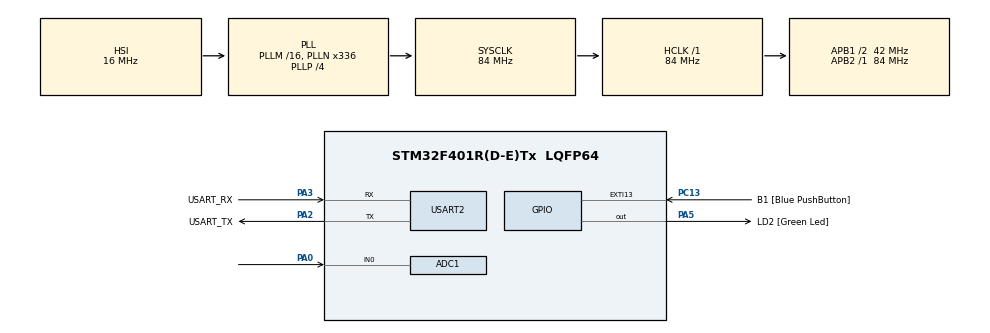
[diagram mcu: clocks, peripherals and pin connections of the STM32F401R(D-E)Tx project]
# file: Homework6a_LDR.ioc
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ADC1.Channel-0\#ChannelRegularConversion=ADC_CHANNEL_0
ADC1.DMAContinuousRequests=ENABLE
ADC1.ExternalTrigConv=ADC_EXTERNALTRIGCONV_T2_TRGO
ADC1.NbrOfConversion=1
ADC1.NbrOfConversionFlag=1
ADC1.Rank-0\#ChannelRegularConversion=1
ADC1.SamplingTime-0\#ChannelRegularConversion=ADC_SAMPLETIME_480CYCLES
ADC1.ScanConvMode=DISABLE
ADC1.master=1
Dma.ADC1.0.Direction=DMA_PERIPH_TO_MEMORY
Dma.ADC1.0.FIFOMode=DMA_FIFOMODE_DISABLE
Dma.ADC1.0.Instance=DMA2_Stream0
Dma.ADC1.0.MemDataAlignment=DMA_MDATAALIGN_HALFWORD
Dma.ADC1.0.MemInc=DMA_MINC_ENABLE
Dma.ADC1.0.Mode=DMA_CIRCULAR
Dma.ADC1.0.PeriphDataAlignment=DMA_PDATAALIGN_HALFWORD
Dma.ADC1.0.PeriphInc=DMA_PINC_DISABLE
Dma.ADC1.0.Priority=DMA_PRIORITY_LOW
Dma.Request0=ADC1
Dma.Request1=USART2_TX
Dma.USART2_TX.1.Direction=DMA_MEMORY_TO_PERIPH
Dma.USART2_TX.1.FIFOMode=DMA_FIFOMODE_DISABLE
Dma.USART2_TX.1.Instance=DMA1_Stream6
Dma.USART2_TX.1.MemDataAlignment=DMA_MDATAALIGN_BYTE
Dma.USART2_TX.1.MemInc=DMA_MINC_ENABLE
Dma.USART2_TX.1.Mode=DMA_NORMAL
Dma.USART2_TX.1.PeriphDataAlignment=DMA_PDATAALIGN_BYTE
Dma.USART2_TX.1.PeriphInc=DMA_PINC_DISABLE
Dma.USART2_TX.1.Priority=DMA_PRIORITY_LOW
Mcu.Family=STM32F4
Mcu.Name=STM32F401R(D-E)Tx
Mcu.Package=LQFP64
NVIC.ADC_IRQn=true\:0\:0\:false\:false\:true\:true\:true\:true
NVIC.DMA1_Stream6_IRQn=true\:0\:0\:false\:false\:true\:false\:true\:true
NVIC.DMA2_Stream0_IRQn=true\:0\:0\:false\:false\:true\:false\:true\:true
NVIC.PriorityGroup=NVIC_PRIORITYGROUP_0
NVIC.USART2_IRQn=true\:0\:0\:false\:false\:true\:true\:true\:true
PA0-WKUP.Signal=SharedAnalog_PA0
PA13.GPIO_Label=TMS
PA13.Mode=Serial_Wire
PA13.Signal=SYS_JTMS-SWDIO
PA14.GPIO_Label=TCK
PA14.Mode=Serial_Wire
PA14.Signal=SYS_JTCK-SWCLK
PA2.GPIO_Label=USART_TX
PA2.GPIO_Mode=GPIO_MODE_AF_PP
PA2.GPIO_PuPd=GPIO_NOPULL
PA2.GPIO_Speed=GPIO_SPEED_FREQ_LOW
PA2.Mode=Asynchronous
PA2.Signal=USART2_TX
PA3.GPIO_Label=USART_RX
PA3.GPIO_Mode=GPIO_MODE_AF_PP
PA3.GPIO_PuPd=GPIO_NOPULL
PA3.GPIO_Speed=GPIO_SPEED_FREQ_LOW
PA3.Mode=Asynchronous
PA3.Signal=USART2_RX
PA5.GPIO_Label=LD2 [Green Led]
PA5.GPIO_Mode=GPIO_MODE_OUTPUT_PP
PA5.GPIO_PuPd=GPIO_NOPULL
PA5.GPIO_Speed=GPIO_SPEED_FREQ_LOW
PA5.Signal=GPIO_Output
PB3.GPIO_Label=SWO
PB3.Signal=SYS_JTDO-SWO
PC13-ANTI_TAMP.GPIO_Label=B1 [Blue PushButton]
PC13-ANTI_TAMP.GPIO_ModeDefaultEXTI=GPIO_MODE_IT_FALLING
PC13-ANTI_TAMP.GPIO_PuPd=GPIO_NOPULL
PC13-ANTI_TAMP.Signal=GPXTI13
PC14-OSC32_IN.Mode=LSE-External-Oscillator
PC14-OSC32_IN.Signal=RCC_OSC32_IN
PC15-OSC32_OUT.Mode=LSE-External-Oscillator
PC15-OSC32_OUT.Signal=RCC_OSC32_OUT
PH0\ -\ OSC_IN.Mode=HSE-External-Clock-Source
PH0\ -\ OSC_IN.Signal=RCC_OSC_IN
PH1\ -\ OSC_OUT.Mode=HSE-External-Clock-Source
PH1\ -\ OSC_OUT.Signal=RCC_OSC_OUT
ProjectManager.HeapSize=0x200
ProjectManager.StackSize=0x400
ProjectManager.TargetToolchain=STM32CubeIDE
RCC.48MHZClocksFreq_Value=48000000
RCC.AHBFreq_Value=84000000
RCC.APB1CLKDivider=RCC_HCLK_DIV2
RCC.APB1Freq_Value=42000000
RCC.APB1TimFreq_Value=84000000
RCC.APB2Freq_Value=84000000
RCC.APB2TimFreq_Value=84000000
RCC.CortexFreq_Value=84000000
RCC.HCLKFreq_Value=84000000
RCC.HSE_VALUE=8000000
RCC.HSI_VALUE=16000000
RCC.PLLN=336
RCC.PLLP=RCC_PLLP_DIV4
RCC.PLLQ=7
RCC.SYSCLKFreq_VALUE=84000000
RCC.SYSCLKSource=RCC_SYSCLKSOURCE_PLLCLK
RCC.VCOOutputFreq_Value=336000000
SH.SharedAnalog_PA0.0=GPIO_Analog
SH.SharedAnalog_PA0.1=ADC1_IN0,IN0
TIM2.Period=10-1
TIM2.Prescaler=8400-1
TIM2.TIM_MasterOutputTrigger=TIM_TRGO_UPDATE
USART2.VirtualMode=VM_ASYNC
VP_TIM2_VS_ClockSourceINT.Mode=Internal
board=NUCLEO-F401RE

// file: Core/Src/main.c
/* USER CODE BEGIN Header */
/**
  ******************************************************************************
  * @file           : main.c
  * @brief          : Main program body
  ******************************************************************************
  * @attention
  *
  * Copyright (c) 2024 STMicroelectronics.
  * All rights reserved.
  *
  * This software is licensed under terms that can be found in the LICENSE file
  * in the root directory of this software component.
  * If no LICENSE file comes with this software, it is provided AS-IS.
  *
  ******************************************************************************
  * GOAL:
  * acquire LDR resistance value every ms and to send its average value to a
  * remote terminal every 1s. Convert the resistance value to a lux level and
  * send that to the remote terminal.
  *
  */
/* USER CODE END Header */
#include "main.h"

/* USER CODE BEGIN Includes */
#include "string.h"
#include "math.h"
/* USER CODE END Includes */

/* USER CODE BEGIN PD */
#define STR_LEN 64
#define LSB 3.3/4096.0
#define NUM_SAMPLE 1000 // 1s/1ms
#define REF_R 100 //Nominal value of LDR
#define V_DD 3.3 //Supply voltage
/* USER CODE END PD */

ADC_HandleTypeDef hadc1;
DMA_HandleTypeDef hdma_adc1;

TIM_HandleTypeDef htim2;

UART_HandleTypeDef huart2;
DMA_HandleTypeDef hdma_usart2_tx;

/* USER CODE BEGIN PV */

uint16_t dig_data [NUM_SAMPLE];
/*2 digital sum are used to compute the average because there is no time to
 * compute the average of all the samples together, thus I split the computation in 2 steps */
uint32_t dig_sum1 = 0;
uint32_t dig_sum2 = 0;

uint32_t dig_avg = 0;

float an_avg = 0.0;
float ldr = 0.0; // in kOhm
float lux = 0.0; // in lumen
char string [STR_LEN];

/* USER CODE END PV */

void SystemClock_Config(void);
static void MX_GPIO_Init(void);
static void MX_DMA_Init(void);
static void MX_USART2_UART_Init(void);
static void MX_ADC1_Init(void);
static void MX_TIM2_Init(void);

/* USER CODE BEGIN 0 */
/*Every half way to the completion of conversion (500 sample) I compute the
 * first sum*/
void HAL_ADC_ConvHalfCpltCallback (ADC_HandleTypeDef * hadc){
	if (hadc=&hadc1){
		dig_sum1 = 0;
		for(int i = 0; i < NUM_SAMPLE/2 ; i++){
			dig_sum1 = dig_sum1 + dig_data[i];
		}
	}
}

void HAL_ADC_ConvCpltCallback(ADC_HandleTypeDef* hadc){
	if(hadc=&hadc1){
		dig_sum2 = 0;
		/*second sum calculation*/
		for(int i = 0; i < NUM_SAMPLE/2 ; i++){
			dig_sum2 = dig_sum2 + dig_data[NUM_SAMPLE/2 + i];
		}
		/*Avg computation*/
		dig_avg = (dig_sum2 + dig_sum1)/(NUM_SAMPLE);

		/*conversion to analog Voltage value*/
		an_avg = dig_avg*LSB;

		/*Conversion to LDR resistance value*/
		ldr = (an_avg * REF_R)/(V_DD - an_avg);

		/*Conversion in lumen*/
		lux = 10*(powf(REF_R/ldr, 1.25));

		/*Creation of the string to send via UART*/
		int length = snprintf(string, sizeof(string), "Resistance: %.3f kOhm; Lux: %.3f lumen\n",ldr, lux);

		/*Transmission to the PC*/
		HAL_UART_Transmit_DMA(&huart2, string, length);
	}
}
/* USER CODE END 0 */

int main(void)
{

  /* MCU Configuration--------------------------------------------------------*/

  /* Reset of all peripherals, Initializes the Flash interface and the Systick. */
  HAL_Init();

  /* Configure the system clock */
  SystemClock_Config();

  /* Initialize all configured peripherals */
  MX_GPIO_Init();
  MX_DMA_Init();
  MX_USART2_UART_Init();
  MX_ADC1_Init();
  MX_TIM2_Init();
  /* USER CODE BEGIN 2 */

  //Configuration of the DMA mode of the ADC (which ADC, Where, How many samples)
  HAL_ADC_Start_DMA(&hadc1, dig_data, NUM_SAMPLE );

  __HAL_TIM_SET_COUNTER(&htim2,0); // reset the counter of tim2

  // start timer (timer triggers every 1 ms (Prescaler = 8400-1 and ARR = 10-1)
  HAL_TIM_Base_Start(&htim2);
  /* USER CODE END 2 */

  /* Infinite loop */
  while (1)
  {

  }
}

void SystemClock_Config(void)
{
  RCC_OscInitTypeDef RCC_OscInitStruct = {0};
  RCC_ClkInitTypeDef RCC_ClkInitStruct = {0};

  /** Configure the main internal regulator output voltage
  */
  __HAL_RCC_PWR_CLK_ENABLE();
  __HAL_PWR_VOLTAGESCALING_CONFIG(PWR_REGULATOR_VOLTAGE_SCALE2);

  /** Initializes the RCC Oscillators according to the specified parameters
  * in the RCC_OscInitTypeDef structure.
  */
  RCC_OscInitStruct.OscillatorType = RCC_OSCILLATORTYPE_HSI;
  RCC_OscInitStruct.HSIState = RCC_HSI_ON;
  RCC_OscInitStruct.HSICalibrationValue = RCC_HSICALIBRATION_DEFAULT;
  RCC_OscInitStruct.PLL.PLLState = RCC_PLL_ON;
  RCC_OscInitStruct.PLL.PLLSource = RCC_PLLSOURCE_HSI;
  RCC_OscInitStruct.PLL.PLLM = 16;
  RCC_OscInitStruct.PLL.PLLN = 336;
  RCC_OscInitStruct.PLL.PLLP = RCC_PLLP_DIV4;
  RCC_OscInitStruct.PLL.PLLQ = 7;
  if (HAL_RCC_OscConfig(&RCC_OscInitStruct) != HAL_OK)
  {
    Error_Handler();
  }

  /** Initializes the CPU, AHB and APB buses clocks
  */
  RCC_ClkInitStruct.ClockType = RCC_CLOCKTYPE_HCLK|RCC_CLOCKTYPE_SYSCLK
                              |RCC_CLOCKTYPE_PCLK1|RCC_CLOCKTYPE_PCLK2;
  RCC_ClkInitStruct.SYSCLKSource = RCC_SYSCLKSOURCE_PLLCLK;
  RCC_ClkInitStruct.AHBCLKDivider = RCC_SYSCLK_DIV1;
  RCC_ClkInitStruct.APB1CLKDivider = RCC_HCLK_DIV2;
  RCC_ClkInitStruct.APB2CLKDivider = RCC_HCLK_DIV1;

  if (HAL_RCC_ClockConfig(&RCC_ClkInitStruct, FLASH_LATENCY_2) != HAL_OK)
  {
    Error_Handler();
  }
}

static void MX_ADC1_Init(void)
{

  ADC_ChannelConfTypeDef sConfig = {0};

  /** Configure the global features of the ADC (Clock, Resolution, Data Alignment and number of conversion)
  */
  hadc1.Instance = ADC1;
  hadc1.Init.ClockPrescaler = ADC_CLOCK_SYNC_PCLK_DIV4;
  hadc1.Init.Resolution = ADC_RESOLUTION_12B;
  hadc1.Init.ScanConvMode = DISABLE;
  hadc1.Init.ContinuousConvMode = DISABLE;
  hadc1.Init.DiscontinuousConvMode = DISABLE;
  hadc1.Init.ExternalTrigConvEdge = ADC_EXTERNALTRIGCONVEDGE_RISING;
  hadc1.Init.ExternalTrigConv = ADC_EXTERNALTRIGCONV_T2_TRGO;
  hadc1.Init.DataAlign = ADC_DATAALIGN_RIGHT;
  hadc1.Init.NbrOfConversion = 1;
  hadc1.Init.DMAContinuousRequests = ENABLE;
  hadc1.Init.EOCSelection = ADC_EOC_SINGLE_CONV;
  if (HAL_ADC_Init(&hadc1) != HAL_OK)
  {
    Error_Handler();
  }

  /** Configure for the selected ADC regular channel its corresponding rank in the sequencer and its sample time.
  */
  sConfig.Channel = ADC_CHANNEL_0;
  sConfig.Rank = 1;
  sConfig.SamplingTime = ADC_SAMPLETIME_480CYCLES;
  if (HAL_ADC_ConfigChannel(&hadc1, &sConfig) != HAL_OK)
  {
    Error_Handler();
  }

}

static void MX_TIM2_Init(void)
{

  TIM_ClockConfigTypeDef sClockSourceConfig = {0};
  TIM_MasterConfigTypeDef sMasterConfig = {0};

  htim2.Instance = TIM2;
  htim2.Init.Prescaler = 8400-1;
  htim2.Init.CounterMode = TIM_COUNTERMODE_UP;
  htim2.Init.Period = 10-1;
  htim2.Init.ClockDivision = TIM_CLOCKDIVISION_DIV1;
  htim2.Init.AutoReloadPreload = TIM_AUTORELOAD_PRELOAD_DISABLE;
  if (HAL_TIM_Base_Init(&htim2) != HAL_OK)
  {
    Error_Handler();
  }
  sClockSourceConfig.ClockSource = TIM_CLOCKSOURCE_INTERNAL;
  if (HAL_TIM_ConfigClockSource(&htim2, &sClockSourceConfig) != HAL_OK)
  {
    Error_Handler();
  }
  sMasterConfig.MasterOutputTrigger = TIM_TRGO_UPDATE;
  sMasterConfig.MasterSlaveMode = TIM_MASTERSLAVEMODE_DISABLE;
  if (HAL_TIMEx_MasterConfigSynchronization(&htim2, &sMasterConfig) != HAL_OK)
  {
    Error_Handler();
  }

}

static void MX_USART2_UART_Init(void)
{

  huart2.Instance = USART2;
  huart2.Init.BaudRate = 115200;
  huart2.Init.WordLength = UART_WORDLENGTH_8B;
  huart2.Init.StopBits = UART_STOPBITS_1;
  huart2.Init.Parity = UART_PARITY_NONE;
  huart2.Init.Mode = UART_MODE_TX_RX;
  huart2.Init.HwFlowCtl = UART_HWCONTROL_NONE;
  huart2.Init.OverSampling = UART_OVERSAMPLING_16;
  if (HAL_UART_Init(&huart2) != HAL_OK)
  {
    Error_Handler();
  }

}

static void MX_DMA_Init(void)
{

  /* DMA controller clock enable */
  __HAL_RCC_DMA2_CLK_ENABLE();
  __HAL_RCC_DMA1_CLK_ENABLE();

  /* DMA interrupt init */
  /* DMA1_Stream6_IRQn interrupt configuration */
  HAL_NVIC_SetPriority(DMA1_Stream6_IRQn, 0, 0);
  HAL_NVIC_EnableIRQ(DMA1_Stream6_IRQn);
  /* DMA2_Stream0_IRQn interrupt configuration */
  HAL_NVIC_SetPriority(DMA2_Stream0_IRQn, 0, 0);
  HAL_NVIC_EnableIRQ(DMA2_Stream0_IRQn);

}

static void MX_GPIO_Init(void)
{
  GPIO_InitTypeDef GPIO_InitStruct = {0};

  /* GPIO Ports Clock Enable */
  __HAL_RCC_GPIOC_CLK_ENABLE();
  __HAL_RCC_GPIOH_CLK_ENABLE();
  __HAL_RCC_GPIOA_CLK_ENABLE();
  __HAL_RCC_GPIOB_CLK_ENABLE();

  /*Configure GPIO pin Output Level */
  HAL_GPIO_WritePin(LD2_GPIO_Port, LD2_Pin, GPIO_PIN_RESET);

  /*Configure GPIO pin : B1_Pin */
  GPIO_InitStruct.Pin = B1_Pin;
  GPIO_InitStruct.Mode = GPIO_MODE_IT_FALLING;
  GPIO_InitStruct.Pull = GPIO_NOPULL;
  HAL_GPIO_Init(B1_GPIO_Port, &GPIO_InitStruct);

  /*Configure GPIO pin : LD2_Pin */
  GPIO_InitStruct.Pin = LD2_Pin;
  GPIO_InitStruct.Mode = GPIO_MODE_OUTPUT_PP;
  GPIO_InitStruct.Pull = GPIO_NOPULL;
  GPIO_InitStruct.Speed = GPIO_SPEED_FREQ_LOW;
  HAL_GPIO_Init(LD2_GPIO_Port, &GPIO_InitStruct);

}

void Error_Handler(void)
{
  __disable_irq();
  while (1)
  {
  }
}
